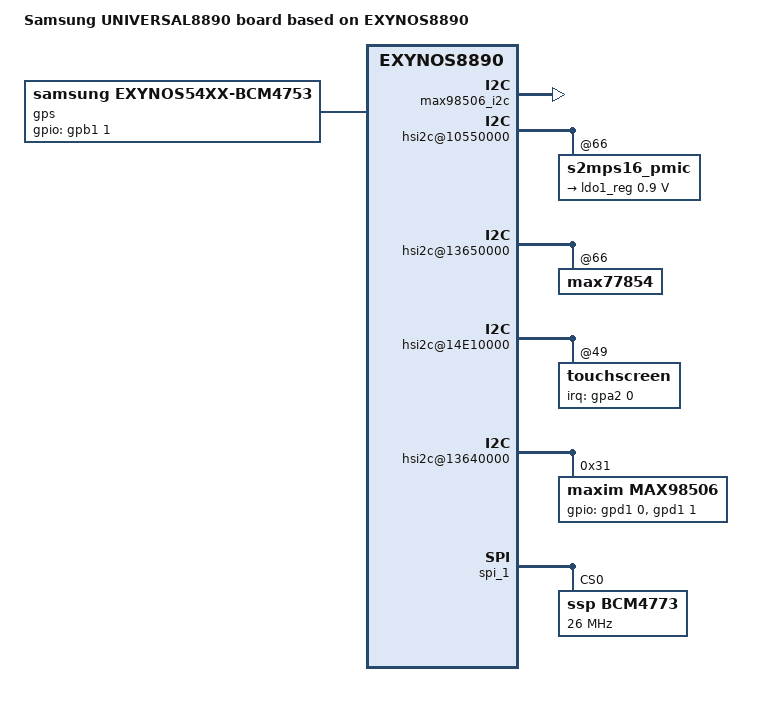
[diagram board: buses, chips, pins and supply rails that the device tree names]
/*
 * SAMSUNG UNIVERSAL8890 board device tree source
 *
 * Copyright (c) 2013 Samsung Electronics Co., Ltd.
 *		http://www.samsung.com
 *
 * This program is free software; you can redistribute it and/or modify
 * it under the terms of the GNU General Public License version 2 as
 * published by the Free Software Foundation.
*/

/dts-v1/;
#include "exynos8890-herolte_common.dtsi"
#include "exynos8890-hero2lte_kor_gpio_02.dtsi"
#include "exynos8890-hero2lte_battery_eur_01.dtsi"
#include "exynos8890-sound-cs47l91.dtsi"
#include "exynos8890-luckylte_mst.dtsi"
#include "exynos8890-herolte_kor-tdmb-00.dtsi"
#include "exynos8890-hero2lte_fingerprint-sensor_00.dtsi"
#include "exynos8890-hero2lte_display_00.dtsi"
#include "exynos8890-hero2lte_motor.dtsi"
#include "exynos8890-hero2lte_svcled.dtsi"

/ {
	model = "Samsung UNIVERSAL8890 board based on EXYNOS8890";
	model_info-chip = <8890>;
	model_info-platform = "android";
	model_info-subtype = "samsung";
	model_info-hw_rev = <1>;
	model_info-hw_rev_end = <2>;
	compatible = "samsung,exynos8890", "samsung,UNIVERSAL8890";

	audio_pdata {
		compatible = "samsung,audio-pdata";
		seamless_voicewakeup;
		status = "okay";
	};

	pinctrl@10580000 {
		codec_irq: codec-irq {
			samsung,pins = "gpa2-6";
			samsung,pin-function = <0xf>;
			samsung,pin-pud = <0>;
		};
		max98506_ctrl: max98506-ctl {
			samsung,pins ="gpa2-2";
			samsung,pin-function = <0>;
			samsung,pin-pud = <0>;
			samsung,pin-con-pdn =<2>;
			samsung,pin-pud-pdn = <0>;
		};
	};

	pinctrl@136D0000 {
		max98506_i2c: max98506-i2c {
			samsung,pins = "gpd1-0", "gpd1-1";
			samsung,pin-pud = <0>;
			status = "okay";
		};
	};

	hsi2c@10550000{
		status = "okay";

		s2mps16_pmic@66 {
			regulators {
				ldo1_reg: LDO1 {
					regulator-name = "vdd_ldo1";
					regulator-min-microvolt = <900000>;
					regulator-max-microvolt = <900000>;
					regulator-ramp-delay = <12000>;
					regulator-initial-mode = <3>;
					regulator-always-on;
				};
			};
		};
	};

	pinctrl@14CC0000 {
		codec_reset: codec-reset {
			samsung,pins ="gpe6-5";
			samsung,pin-function = <1>;
			samsung,pin-pud = <1>;
			samsung,pin-con-pdn =<3>;
			samsung,pin-pud-pdn = <1>;
			samsung,pin-val = <0>;
		};
	};

	hsi2c@13650000 {
		status = "okay";

		max77854@66 {
			status = "okay";
		};
	};

	pinctrl@10580000 {
		attn_irq: attn-irq {
			samsung,pins = "gpa2-0";
			samsung,pin-function = <0xf>;
			samsung,pin-pud = <0>;
			samsung,pin-drv = <0>;
		};

		attn_input: attn-input {
			samsung,pins = "gpa2-0";
			samsung,pin-function = <0>;
			samsung,pin-pud = <1>;
		};
	};

	hsi2c@14E10000 {
		touchscreen@49{
			stm,irq_gpio = <&gpa2 0 0>;
		};
	};

	hsi2c@14E10000 {
		touchscreen@48{
			status = "disabled";
		};
	};

	hsi2c@13640000 {
		status = "okay";
		max98506@31 {
			compatible = "maxim,max98506";
			reg = <0x31>;
			pinctrl-names = "default";
			pinctrl-0 = <&max98506_i2c &max98506_ctrl>;
			gpios = <&gpd1 0 0
				&gpd1 1 0
				>;
			i2c-gpio,delay-us = <2>;
			maxim,platform_type = <0>;
			maxim,spk-gain = <0x14>;
			maxim,sysclk = <12288000>;
			maxim,vmon_slot = <0>;
			maxim,platform_info = <0 0x4000 0x0F010203 0x0FF10203 0x00000000 40>;
			maxim,boost_step = <
						0x0F 0x0F 0x0F 0x0F
						0x0F 0x0F 0x0F 0x0F
						0x0F 0x0F 0x0F 0x0F
						0x0F 0x0F 0x02 0x00
						>;
			maxim,adc_threshold = <7>;
			maxim,registers-of-amp =
				<0x1F 0x00>,
				<0x21 0xC0>,
				<0x2F 0x00>;
		};
	};

	spi_1: spi@14d30000 {
		#address-cells = <1>;
		#size-cells = <0>;

		pinctrl-names = "default";
		pinctrl-0 = <&spi1_mosi_sck_ssn &spi1_miso>;

		num-cs = <1>;
		status = "okay";

		BCM4773@0 {
			compatible = "ssp,BCM4773";
			reg = <0>;
			spi-max-frequency = <26000000>;
			spi-cpol;
			spi-cpha;
			pinctrl-names = "default";
			pinctrl-0 = <&ssp_host_req &ssp_mcu_req &ssp_mcu_resp &ssp_batch_wake_irq>;

			gpio-controller;
			#gpio-cells = <2>;
			ssp-host-req = <&gpa3 4 0x00>;
			ssp-mcu-req = <&gpe6 4 0x00>;
			ssp-mcu-resp = <&gpg0 2 0x00>;
			ssp-batch-wake-irq = <&gpa3 1 0x00>;
			ssp-acc-position = <7>;
			ssp-mag-position = <4>;
			ssp-sns-combination = <0>;
			ssp,prox-hi_thresh = <2000>;
			ssp,prox-low_thresh = <1400>;
			ssp-ap-rev = <1>;
			ssp-mag-array = <10000 0 0 0 10000 0 0 0 10000>;
			ssp-glass-type = <1>;

			controller-data {
				cs-gpio = <&gpe2 5 0>;
				samsung,spi-feedback-delay = <0>;
				};
			};
	};

	gps {
		compatible = "samsung,exynos54xx-bcm4753";

		pinctrl-names = "default";
		//pinctrl-0 = <&ssp_gps_pwr_en &ssp_host_wake>;
		pinctrl-0 = <&ssp_gps_pwr_en>;

		gpios = <&gpb1 1 0x0
			      //&gpa3 1 0x0
				>;
		status = "okay";
	};

	pinctrl@14CC0000 {
		tflash_en: tfalsh-en {
			samsung,pins = "gpe0-5";
			samsung,pin-pud = <0>;
		};
	};

	pinctrl@136D0000 {
		fimc_is_mclk0_fn: fimc_is_mclk0_fn {
			samsung,pins = "gpk0-0";
			samsung,pin-function = <2>;
			samsung,pin-pud = <0>;
			samsung,pin-drv = <1>;
		};

		fimc_is_mclk2_fn: fimc_is_mclk2_fn {
			samsung,pins = "gpk0-2";
			samsung,pin-function = <2>;
			samsung,pin-pud = <0>;
			samsung,pin-drv = <0>;
		};
	};
};
